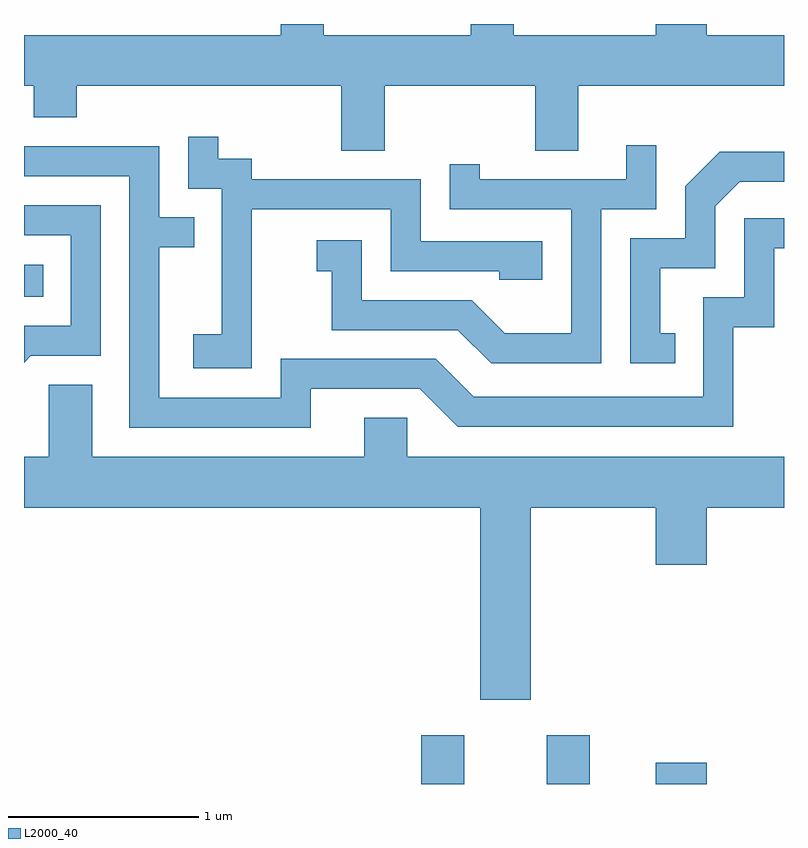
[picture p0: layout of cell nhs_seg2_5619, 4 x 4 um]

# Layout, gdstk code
import gdstk
lib = gdstk.Library(unit=1e-6, precision=1e-09)
def R(c, l, rs):  # rectangles x0, y0, x1, y1
    for r in rs: c.add(gdstk.rectangle(r[:2], r[2:], *l))
def P(c, l, *ps):  # polygons
    for p in ps: c.add(gdstk.Polygon(p, *l))
L2000_40 = (2000, 40)

nhs_seg2_5619 = lib.new_cell('nhs_seg2_5619')
R(nhs_seg2_5619, L2000_40, [(353.701,995.802,353.929,996.059), (354.361,995.802,354.589,996.059), (354.936,995.802,355.204,995.914), (351.611,998.366,351.713,998.534)])
P(nhs_seg2_5619, L2000_40, [(354.189,999.802),(353.961,999.802),(353.961,999.744),(353.189,999.744),(353.189,999.802),(352.961,999.802),(352.961,999.744),(351.611,999.744),(351.611,999.476),(351.661,999.476),(351.661,999.311),(351.889,999.311),(351.889,999.476),(353.281,999.476),(353.281,999.136),(353.509,999.136),(353.509,999.476),(354.301,999.476),(354.301,999.136),(354.529,999.136),(354.529,999.476),(355.611,999.476),(355.611,999.744),(355.204,999.744),(355.204,999.802),(354.936,999.802),(354.936,999.744),(354.189,999.744)],
  [(352.809,998.826),(353.541,998.826),(353.541,998.501),(354.111,998.501),(354.111,998.456),(354.339,998.456),(354.339,998.659),(353.699,998.659),(353.699,998.984),(352.809,998.984),(352.809,999.094),(352.634,999.094),(352.634,999.208),(352.476,999.208),(352.476,998.936),(352.651,998.936),(352.651,998.169),(352.501,998.169),(352.501,997.991),(352.809,997.991)],
  [(354.649,998.826),(354.939,998.826),(354.939,999.163),(354.781,999.163),(354.781,998.984),(354.009,998.984),(354.009,999.063),(353.851,999.063),(353.851,998.826),(354.491,998.826),(354.491,998.174),(354.142,998.174),(353.967,998.349),(353.389,998.349),(353.389,998.664),(353.153,998.664),(353.153,998.501),(353.231,998.501),(353.231,998.191),(353.894,998.191),(354.069,998.016),(354.649,998.016)],
  [(353.119,997.881),(353.694,997.881),(353.894,997.681),(355.344,997.681),(355.344,998.206),(355.559,998.206),(355.559,998.621),(355.611,998.621),(355.611,998.779),(355.401,998.779),(355.401,998.364),(355.186,998.364),(355.186,997.839),(353.977,997.839),(353.777,998.039),(352.961,998.039),(352.961,997.834),(352.324,997.834),(352.324,998.626),(352.508,998.626),(352.508,998.784),(352.324,998.784),(352.324,999.159),(351.611,999.159),(351.611,999.001),(352.166,999.001),(352.166,997.676),(353.119,997.676)],
  [(355.038,998.174),(354.959,998.174),(354.959,998.516),(355.249,998.516),(355.249,998.844),(355.377,998.971),(355.611,998.971),(355.611,999.129),(355.274,999.129),(355.091,998.947),(355.091,998.674),(354.801,998.674),(354.801,998.016),(355.038,998.016)],
  [(351.647,998.056),(352.014,998.056),(352.014,998.849),(351.611,998.849),(351.611,998.691),(351.856,998.691),(351.856,998.214),(351.611,998.214),(351.611,998.02)],
  [(354.279,997.256),(354.936,997.256),(354.936,996.956),(355.204,996.956),(355.204,997.256),(355.611,997.256),(355.611,997.524),(353.629,997.524),(353.629,997.729),(353.401,997.729),(353.401,997.524),(351.969,997.524),(351.969,997.904),(351.741,997.904),(351.741,997.524),(351.611,997.524),(351.611,997.256),(354.011,997.256),(354.011,996.246),(354.279,996.246)])

lib.write_gds('nhs_seg2_5619.gds')
